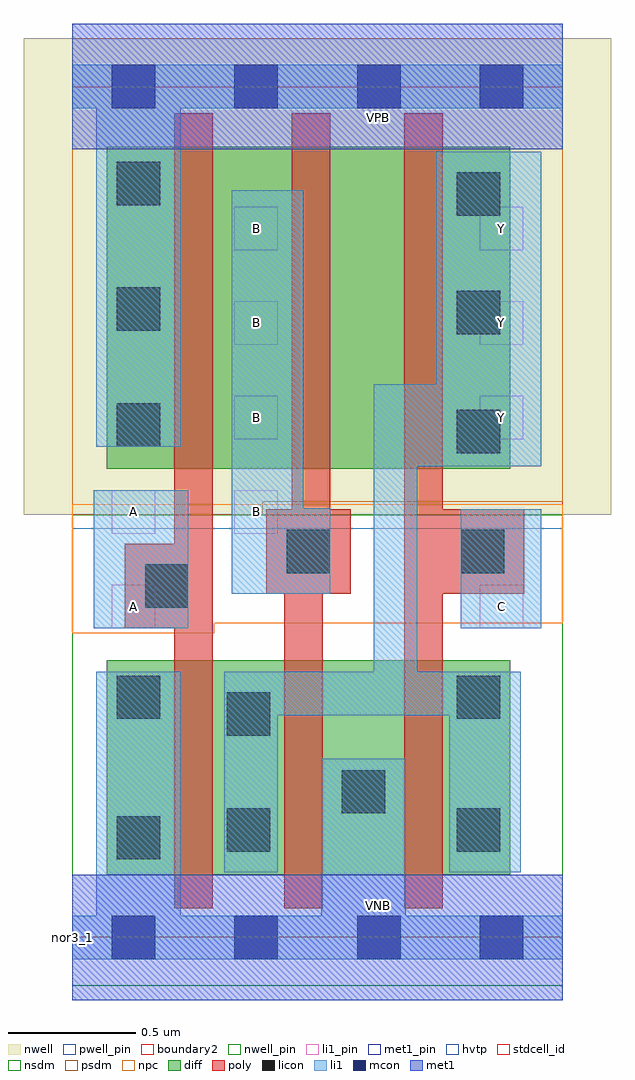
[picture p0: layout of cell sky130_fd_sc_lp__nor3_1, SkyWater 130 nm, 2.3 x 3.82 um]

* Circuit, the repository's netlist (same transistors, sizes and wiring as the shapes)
* Copyright 2020 The SkyWater PDK Authors
*
* Licensed under the Apache License, Version 2.0 (the "License");
* you may not use this file except in compliance with the License.
* You may obtain a copy of the License at
*
*     https://www.apache.org/licenses/LICENSE-2.0
*
* Unless required by applicable law or agreed to in writing, software
* distributed under the License is distributed on an "AS IS" BASIS,
* WITHOUT WARRANTIES OR CONDITIONS OF ANY KIND, either express or implied.
* See the License for the specific language governing permissions and
* limitations under the License.
*
* SPDX-License-Identifier: Apache-2.0

.SUBCKT sky130_fd_sc_lp__nor3_1 A B C VGND VNB VPB VPWR Y
*.PININFO A:I B:I C:I VGND:I VNB:I VPB:I VPWR:I Y:O
MMP0 VPWR A sndPA VPB sky130_fd_pr__pfet_01v8_hvt m=1 w=1.26U l=0.15U mult=1 sa=0.265
+ sb=0.265 sd=0.28 area=0.063 perim=1.14
MMP1 sndPA B sndPB VPB sky130_fd_pr__pfet_01v8_hvt m=1 w=1.26U l=0.15U mult=1 sa=0.265
+ sb=0.265 sd=0.28 area=0.063 perim=1.14
MMP2 sndPB C Y VPB sky130_fd_pr__pfet_01v8_hvt m=1 w=1.26U l=0.15U mult=1 sa=0.265
+ sb=0.265 sd=0.28 area=0.063 perim=1.14
MMN0 Y A VGND VNB sky130_fd_pr__nfet_01v8 m=1 w=0.84U l=0.15U mult=1 sa=0.265 sb=0.265
+ sd=0.28 area=0.063 perim=1.14
MMN1 Y B VGND VNB sky130_fd_pr__nfet_01v8 m=1 w=0.84U l=0.15U mult=1 sa=0.265 sb=0.265
+ sd=0.28 area=0.063 perim=1.14
MMN2 Y C VGND VNB sky130_fd_pr__nfet_01v8 m=1 w=0.84U l=0.15U mult=1 sa=0.265 sb=0.265
+ sd=0.28 area=0.063 perim=1.14
.ENDS sky130_fd_sc_lp__nor3_1

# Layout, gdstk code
import gdstk
lib = gdstk.Library(unit=1e-6, precision=1e-09)
def R(c, l, rs):  # rectangles x0, y0, x1, y1
    for r in rs: c.add(gdstk.rectangle(r[:2], r[2:], *l))
def A(c, l, x, y, w, h, nx, ny, dx, dy):  # array of equal rectangles
    R(c, l, [(x+i*dx, y+j*dy, x+i*dx+w, y+j*dy+h) for i in range(nx) for j in range(ny)])
def P(c, l, *ps):  # polygons
    for p in ps: c.add(gdstk.Polygon(p, *l))
nwell_pin = (64, 16)
nwell = (64, 20)
diff = (65, 20)
poly = (66, 20)
licon = (66, 44)
li1_pin = (67, 16)
li1 = (67, 20)
mcon = (67, 44)
met1_pin = (68, 16)
met1 = (68, 20)
hvtp = (78, 44)
stdcell_id = (81, 4)
nsdm = (93, 44)
psdm = (94, 20)
npc = (95, 20)
pwell_pin = (122, 16)
boundary2 = (236, 0)

sky130_fd_sc_lp__nor3_1 = lib.new_cell('sky130_fd_sc_lp__nor3_1')
R(sky130_fd_sc_lp__nor3_1, nwell_pin, [(0,3.085,1.92,3.33)])
R(sky130_fd_sc_lp__nor3_1, nwell, [(-0.19,1.655,2.11,3.52)])
R(sky130_fd_sc_lp__nor3_1, diff, [(0.135,0.245,1.715,1.085), (0.135,1.835,1.715,3.095)])
P(sky130_fd_sc_lp__nor3_1, poly, [(0.55,3.225),(0.4,3.225),(0.4,1.54),(0.205,1.54),(0.205,1.21),(0.4,1.21),(0.4,0.115),(0.55,0.115)],
  [(1.09,1.675),(1.01,1.675),(1.01,3.225),(0.86,3.225),(0.86,1.675),(0.76,1.675),(0.76,1.345),(0.83,1.345),(0.83,0.115),(0.98,0.115),(0.98,1.345),(1.09,1.345)],
  [(1.77,1.675),(1.45,1.675),(1.45,3.225),(1.3,3.225),(1.3,0.115),(1.45,0.115),(1.45,1.345),(1.77,1.345)])
A(sky130_fd_sc_lp__nor3_1, licon, 1.505, 1.895, 0.17, 0.17, 1, 3, 0, 0.465)
R(sky130_fd_sc_lp__nor3_1, licon, [(0.175,0.305,0.345,0.475), (0.605,0.335,0.775,0.505), (1.505,0.335,1.675,0.505), (1.055,0.485,1.225,0.655), (0.605,0.79,0.775,0.96), (0.175,0.855,0.345,1.025), (1.505,0.855,1.675,1.025), (0.285,1.29,0.455,1.46), (0.84,1.425,1.01,1.595), (1.52,1.425,1.69,1.595), (0.175,1.92,0.345,2.09), (0.175,2.375,0.345,2.545), (0.175,2.865,0.345,3.035)])
A(sky130_fd_sc_lp__nor3_1, li1_pin, 0.635, 1.58, 0.17, 0.17, 1, 4, 0, 0.37)
A(sky130_fd_sc_lp__nor3_1, li1_pin, 1.595, 1.95, 0.17, 0.17, 1, 3, 0, 0.37)
R(sky130_fd_sc_lp__nor3_1, li1_pin, [(0.155,1.21,0.325,1.38), (1.595,1.21,1.765,1.38), (0.155,1.58,0.325,1.75)])
R(sky130_fd_sc_lp__nor3_1, li1, [(0.085,1.21,0.455,1.75), (1.52,1.21,1.835,1.675)])
P(sky130_fd_sc_lp__nor3_1, li1, [(1.92,0.085),(1.305,0.085),(1.305,0.7),(0.975,0.7),(0.975,0.085),(0.425,0.085),(0.425,1.04),(0.095,1.04),(0.095,0.085),(0,0.085),(0,-0.085),(1.92,-0.085)],
  [(1.01,1.68),(0.905,1.68),(0.905,2.925),(0.625,2.925),(0.625,1.345),(1.01,1.345)],
  [(1.92,3.415),(0,3.415),(0,3.245),(0.095,3.245),(0.095,1.92),(0.425,1.92),(0.425,3.245),(1.92,3.245)],
  [(1.835,3.075),(1.425,3.075),(1.425,2.165),(1.18,2.165),(1.18,1.04),(0.595,1.04),(0.595,0.255),(0.805,0.255),(0.805,0.87),(1.475,0.87),(1.475,0.255),(1.755,0.255),(1.755,1.04),(1.35,1.04),(1.35,1.845),(1.835,1.845)])
A(sky130_fd_sc_lp__nor3_1, mcon, 0.155, -0.085, 0.17, 0.17, 4, 2, 0.48, 3.33)
R(sky130_fd_sc_lp__nor3_1, met1_pin, [(0,0,1.92,0.245), (0,3.085,1.92,3.33)])
R(sky130_fd_sc_lp__nor3_1, met1, [(0,-0.245,1.92,0.245), (0,3.085,1.92,3.575)])
R(sky130_fd_sc_lp__nor3_1, hvtp, [(0,1.6,1.92,3.33)])
R(sky130_fd_sc_lp__nor3_1, stdcell_id, [(0,0,1.92,3.33)])
R(sky130_fd_sc_lp__nor3_1, nsdm, [(0,-0.19,1.92,1.655)])
P(sky130_fd_sc_lp__nor3_1, psdm, [(1.92,3.52),(0,3.52),(0,1.655),(0.745,1.655),(0.745,1.705),(1.92,1.705)])
P(sky130_fd_sc_lp__nor3_1, npc, [(1.92,1.695),(0,1.695),(0,1.19),(0.555,1.19),(0.555,1.23),(1.92,1.23)])
R(sky130_fd_sc_lp__nor3_1, pwell_pin, [(0,0,1.92,0.245)])
R(sky130_fd_sc_lp__nor3_1, boundary2, [(0,0,1.92,3.33)])
sky130_fd_sc_lp__nor3_1.add(gdstk.Label('VNB', (1.2,0.123), layer=64, texttype=59))
sky130_fd_sc_lp__nor3_1.add(gdstk.Label('VPB', (1.2,3.208), layer=64, texttype=5))
sky130_fd_sc_lp__nor3_1.add(gdstk.Label('nor3_1', (0,0), layer=83, texttype=44))
sky130_fd_sc_lp__nor3_1.add(gdstk.Label('VPWR', (1.2,3.208), layer=68, texttype=5))
sky130_fd_sc_lp__nor3_1.add(gdstk.Label('VGND', (1.2,0.123), layer=68, texttype=5))
sky130_fd_sc_lp__nor3_1.add(gdstk.Label('B', (0.72,1.665), layer=67, texttype=5))
sky130_fd_sc_lp__nor3_1.add(gdstk.Label('B', (0.72,2.035), layer=67, texttype=5))
sky130_fd_sc_lp__nor3_1.add(gdstk.Label('B', (0.72,2.405), layer=67, texttype=5))
sky130_fd_sc_lp__nor3_1.add(gdstk.Label('B', (0.72,2.775), layer=67, texttype=5))
sky130_fd_sc_lp__nor3_1.add(gdstk.Label('C', (1.68,1.295), layer=67, texttype=5))
sky130_fd_sc_lp__nor3_1.add(gdstk.Label('A', (0.24,1.295), layer=67, texttype=5))
sky130_fd_sc_lp__nor3_1.add(gdstk.Label('A', (0.24,1.665), layer=67, texttype=5))
sky130_fd_sc_lp__nor3_1.add(gdstk.Label('Y', (1.68,2.035), layer=67, texttype=5))
sky130_fd_sc_lp__nor3_1.add(gdstk.Label('Y', (1.68,2.775), layer=67, texttype=5))
sky130_fd_sc_lp__nor3_1.add(gdstk.Label('Y', (1.68,2.405), layer=67, texttype=5))

lib.write_gds('sky130_fd_sc_lp__nor3_1.gds')
